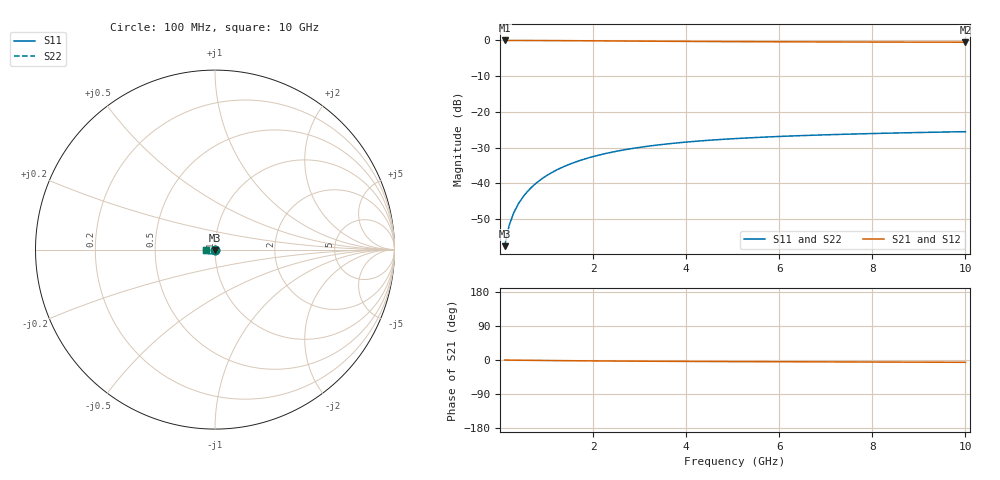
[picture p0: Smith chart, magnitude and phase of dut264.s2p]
! Touchstone file exported from HFSS 2024.1.0
!  File:  C:/UserFiles/LocalFiles/RDL_TSV_Batchsim/temp_TSV1_264_1779391812.aedt
!  Generated:  03:35:49 AM May 22, 2026
!  Design:  TSV1
!  Project:  temp_TSV1_264_1779391812
!  Setup:  Setup1
!  Solution:  Sweep
! Variables:
!  dtsv = 8.8um
!  hbump = 3um
!  htsv = 97.6um
!  lrdl = 252.1521522um
!  p = 40
!  p1 = 43.23um
!  t = 500um
!  trdl = 3um
!  wrdl = 24.89489489um
# GHz S MA R 50.000000
! Terminal data exported
! Port[1] = TSV22_T1
! Port[2] = TSV22_T2
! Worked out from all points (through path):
!   100 points, 100 MHz to 10 GHz, reference 50 ohm
!   highest |S21| = 0.00 dB at 100 MHz (marker M1); lowest = -0.5 dB at 10 GHz (marker M2)
!   lowest |S11| = -57.6 dB at 100 MHz (marker M3), VSWR 1.00, Z = 50 - j0.131 ohm
!   |S11| at or under -10 dB: start of sweep to end of sweep
!   |S22| runs from -57.6 to -25.5 dB; largest |S21 - S12| = 4.1e-15
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0.1  0.001326 -82.3  0.9997 -0.1  0.9997 -0.1  0.001326 -82.3
! Gamma 0 0 0 0
! Port Impedance 50 0 50 0
0.2  0.00263 -88.3  0.9996 -0.3  0.9996 -0.3  0.00263 -88.3
0.3  0.00394 -91.4  0.9994 -0.4  0.9994 -0.4  0.00394 -91.4
0.4  0.005248 -93.8  0.9991 -0.5  0.9991 -0.5  0.005248 -93.8
0.5  0.006549 -95.9  0.9988 -0.7  0.9988 -0.7  0.006549 -95.9
0.6  0.007838 -97.8  0.9984 -0.8  0.9984 -0.8  0.007838 -97.8
0.7  0.009114 -99.6  0.9979 -0.9  0.9979 -0.9  0.009114 -99.6
0.8  0.01037 -101.4  0.9974 -1.1  0.9974 -1.1  0.01037 -101.4
0.9  0.01161 -103.1  0.9968 -1.2  0.9968 -1.2  0.01161 -103.1
1.1  0.01404 -106.4  0.9955 -1.4  0.9955 -1.4  0.01404 -106.4
1.4  0.0175 -111.0  0.9932 -1.8  0.9932 -1.8  0.0175 -111.0
1.6  0.01968 -114.0  0.9915 -2.0  0.9915 -2.0  0.01968 -114.0
1.8  0.02175 -116.8  0.9897 -2.2  0.9897 -2.2  0.02175 -116.8
2.1  0.02465 -120.9  0.9869 -2.5  0.9869 -2.5  0.02465 -120.9
2.5  0.02814 -126.0  0.983 -2.8  0.983 -2.8  0.02814 -126.0
2.9  0.03122 -130.7  0.9793 -3.1  0.9793 -3.1  0.03122 -130.7
3.4  0.03454 -136.0  0.9748 -3.4  0.9748 -3.4  0.03454 -136.0
4.2  0.03884 -143.5  0.9684 -3.8  0.9684 -3.8  0.03884 -143.5
5.1  0.04254 -150.6  0.9624 -4.2  0.9624 -4.2  0.04254 -150.6
6.7  0.04719 -161.0  0.9545 -4.9  0.9545 -4.9  0.04719 -161.0
8.4  0.05057 -169.7  0.9488 -5.5  0.9488 -5.5  0.05057 -169.7
10  0.05297 -176.6  0.9451 -6.1  0.9451 -6.1  0.05297 -176.6
